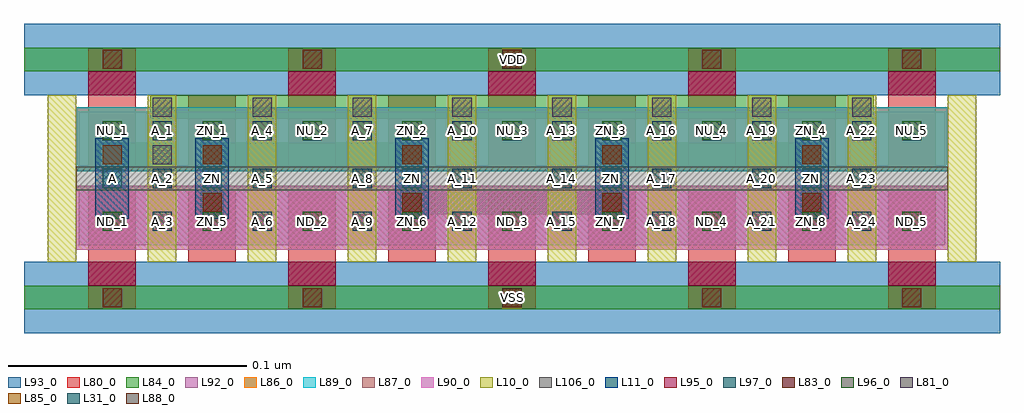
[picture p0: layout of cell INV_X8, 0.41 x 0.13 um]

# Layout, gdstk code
import gdstk
lib = gdstk.Library(unit=1e-6, precision=1e-09)
def R(c, l, rs):  # rectangles x0, y0, x1, y1
    for r in rs: c.add(gdstk.rectangle(r[:2], r[2:], *l))
def A(c, l, x, y, w, h, nx, ny, dx, dy):  # array of equal rectangles
    R(c, l, [(x+i*dx, y+j*dy, x+i*dx+w, y+j*dy+h) for i in range(nx) for j in range(ny)])
L10_0 = (10, 0)
L11_0 = (11, 0)
L31_0 = (31, 0)
L80_0 = (80, 0)
L81_0 = (81, 0)
L83_0 = (83, 0)
L84_0 = (84, 0)
L85_0 = (85, 0)
L86_0 = (86, 0)
L87_0 = (87, 0)
L88_0 = (88, 0)
L89_0 = (89, 0)
L90_0 = (90, 0)
L92_0 = (92, 0)
L93_0 = (93, 0)
L95_0 = (95, 0)
L96_0 = (96, 0)
L97_0 = (97, 0)
L106_0 = (106, 0)

inv_x8 = lib.new_cell('INV_X8')
A(inv_x8, L10_0, -0.027, 0.015, 0.012, 0.07, 10, 1, 0.042, 0)
A(inv_x8, L11_0, 0.035, 0.033, 0.014, 0.034, 4, 1, 0.084, 0)
R(inv_x8, L11_0, [(-0.007,0.033,0.007,0.067)])
A(inv_x8, L31_0, 0.038, 0.046, 0.008, 0.008, 4, 1, 0.084, 0)
R(inv_x8, L31_0, [(-0.004,0.046,0.004,0.054)])
A(inv_x8, L80_0, -0.01, -0.005, 0.02, 0.03, 5, 2, 0.084, 0.08)
A(inv_x8, L80_0, -0.01, 0.015, 0.02, 0.03, 9, 2, 0.042, 0.04)
A(inv_x8, L81_0, 0.017, 0.076, 0.008, 0.008, 8, 1, 0.042, 0)
R(inv_x8, L81_0, [(0.017,0.056,0.025,0.064)])
A(inv_x8, L83_0, -0.004, -0.004, 0.008, 0.008, 5, 2, 0.084, 0.1)
A(inv_x8, L83_0, 0.038, 0.036, 0.008, 0.008, 4, 2, 0.084, 0.02)
A(inv_x8, L84_0, 0.121, 0.035, 0.031, 0.01, 4, 1, 0.021, 0)
A(inv_x8, L84_0, 0.037, 0.055, 0.031, 0.01, 4, 1, 0.021, 0)
A(inv_x8, L84_0, 0.205, 0.055, 0.031, 0.01, 4, 1, 0.021, 0)
A(inv_x8, L84_0, 0.016, 0.075, 0.031, 0.01, 14, 1, 0.021, 0)
R(inv_x8, L84_0, [(-0.037,-0.005,0.373,0.005), (0.037,0.035,0.047,0.045), (0.289,0.035,0.299,0.045), (-0.006,0.055,0.027,0.065), (-0.037,0.095,0.373,0.105)])
A(inv_x8, L85_0, 0.038, 0.036, 0.008, 0.008, 4, 2, 0.084, 0.02)
R(inv_x8, L85_0, [(-0.004,0.056,0.004,0.064)])
R(inv_x8, L86_0, [(-0.015,0.053,0.351,0.08)])
R(inv_x8, L87_0, [(-0.015,0.02,0.351,0.047)])
R(inv_x8, L88_0, [(0.164,-0.004,0.172,0.004), (0.164,0.096,0.172,0.104)])
R(inv_x8, L89_0, [(-0.015,0.053,0.351,0.08)])
R(inv_x8, L90_0, [(-0.015,0.02,0.351,0.047)])
R(inv_x8, L92_0, [(-0.014,0.022,0.35,0.045), (-0.014,0.055,0.35,0.078)])
R(inv_x8, L93_0, [(-0.037,-0.015,0.373,0.015), (-0.037,0.085,0.373,0.115)])
A(inv_x8, L95_0, -0.01, 0.005, 0.02, 0.01, 5, 2, 0.084, 0.08)
A(inv_x8, L96_0, -0.004, 0.028, 0.008, 0.008, 9, 2, 0.042, 0.038)
A(inv_x8, L97_0, 0.017, 0.028, 0.008, 0.008, 8, 2, 0.042, 0.018)
A(inv_x8, L97_0, 0.017, 0.066, 0.008, 0.008, 8, 1, 0.042, 0)
R(inv_x8, L106_0, [(-0.015,0.045,0.351,0.055)])
inv_x8.add(gdstk.Label('VDD', (0.168,0.1), layer=88, texttype=0))
inv_x8.add(gdstk.Label('VSS', (0.168,0), layer=88, texttype=0))
inv_x8.add(gdstk.Label('A_15', (0.189,0.032), layer=97, texttype=0))
inv_x8.add(gdstk.Label('A_14', (0.189,0.05), layer=97, texttype=0))
inv_x8.add(gdstk.Label('A_13', (0.189,0.07), layer=97, texttype=0))
inv_x8.add(gdstk.Label('A_18', (0.231,0.032), layer=97, texttype=0))
inv_x8.add(gdstk.Label('A_17', (0.231,0.05), layer=97, texttype=0))
inv_x8.add(gdstk.Label('A_16', (0.231,0.07), layer=97, texttype=0))
inv_x8.add(gdstk.Label('A_22', (0.315,0.07), layer=97, texttype=0))
inv_x8.add(gdstk.Label('A_23', (0.315,0.05), layer=97, texttype=0))
inv_x8.add(gdstk.Label('A_24', (0.315,0.032), layer=97, texttype=0))
inv_x8.add(gdstk.Label('A_19', (0.273,0.07), layer=97, texttype=0))
inv_x8.add(gdstk.Label('A_20', (0.273,0.05), layer=97, texttype=0))
inv_x8.add(gdstk.Label('A_21', (0.273,0.032), layer=97, texttype=0))
inv_x8.add(gdstk.Label('A_9', (0.105,0.032), layer=97, texttype=0))
inv_x8.add(gdstk.Label('A_8', (0.105,0.05), layer=97, texttype=0))
inv_x8.add(gdstk.Label('A_7', (0.105,0.07), layer=97, texttype=0))
inv_x8.add(gdstk.Label('A_12', (0.147,0.032), layer=97, texttype=0))
inv_x8.add(gdstk.Label('A_11', (0.147,0.05), layer=97, texttype=0))
inv_x8.add(gdstk.Label('A_10', (0.147,0.07), layer=97, texttype=0))
inv_x8.add(gdstk.Label('A_4', (0.063,0.07), layer=97, texttype=0))
inv_x8.add(gdstk.Label('A_5', (0.063,0.05), layer=97, texttype=0))
inv_x8.add(gdstk.Label('A_6', (0.063,0.032), layer=97, texttype=0))
inv_x8.add(gdstk.Label('A_1', (0.021,0.07), layer=97, texttype=0))
inv_x8.add(gdstk.Label('A_2', (0.021,0.05), layer=97, texttype=0))
inv_x8.add(gdstk.Label('A_3', (0.021,0.032), layer=97, texttype=0))
inv_x8.add(gdstk.Label('ND_4', (0.252,0.032), layer=96, texttype=0))
inv_x8.add(gdstk.Label('ZN_4', (0.294,0.07), layer=96, texttype=0))
inv_x8.add(gdstk.Label('ZN_8', (0.294,0.032), layer=96, texttype=0))
inv_x8.add(gdstk.Label('NU_5', (0.336,0.07), layer=96, texttype=0))
inv_x8.add(gdstk.Label('ND_5', (0.336,0.032), layer=96, texttype=0))
inv_x8.add(gdstk.Label('ZN_7', (0.21,0.032), layer=96, texttype=0))
inv_x8.add(gdstk.Label('ZN_3', (0.21,0.07), layer=96, texttype=0))
inv_x8.add(gdstk.Label('NU_4', (0.252,0.07), layer=96, texttype=0))
inv_x8.add(gdstk.Label('ZN_6', (0.126,0.032), layer=96, texttype=0))
inv_x8.add(gdstk.Label('ZN_2', (0.126,0.07), layer=96, texttype=0))
inv_x8.add(gdstk.Label('NU_3', (0.168,0.07), layer=96, texttype=0))
inv_x8.add(gdstk.Label('ND_3', (0.168,0.032), layer=96, texttype=0))
inv_x8.add(gdstk.Label('ND_2', (0.084,0.032), layer=96, texttype=0))
inv_x8.add(gdstk.Label('NU_2', (0.084,0.07), layer=96, texttype=0))
inv_x8.add(gdstk.Label('ZN_5', (0.042,0.032), layer=96, texttype=0))
inv_x8.add(gdstk.Label('ZN_1', (0.042,0.07), layer=96, texttype=0))
inv_x8.add(gdstk.Label('NU_1', (0,0.07), layer=96, texttype=0))
inv_x8.add(gdstk.Label('ND_1', (0,0.032), layer=96, texttype=0))
inv_x8.add(gdstk.Label('A', (0,0.05), layer=31, texttype=0))
inv_x8.add(gdstk.Label('ZN', (0.042,0.05), layer=31, texttype=0))
inv_x8.add(gdstk.Label('ZN', (0.126,0.05), layer=31, texttype=0))
inv_x8.add(gdstk.Label('ZN', (0.21,0.05), layer=31, texttype=0))
inv_x8.add(gdstk.Label('ZN', (0.294,0.05), layer=31, texttype=0))

lib.write_gds('INV_X8.gds')
